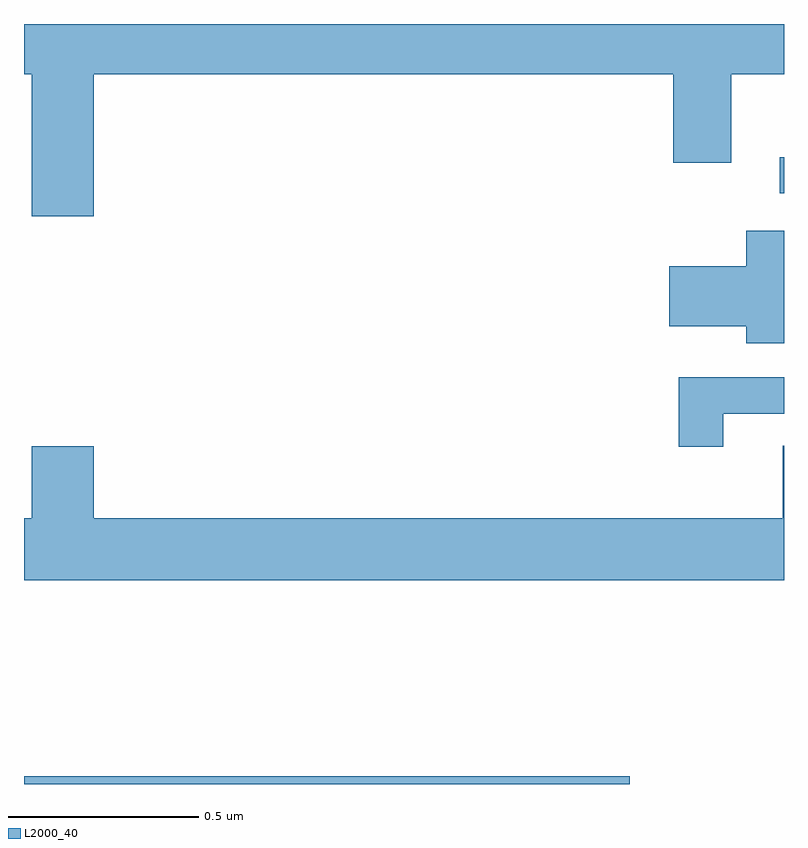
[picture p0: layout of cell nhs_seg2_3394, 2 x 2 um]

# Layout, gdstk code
import gdstk
lib = gdstk.Library(unit=1e-6, precision=1e-09)
def R(c, l, rs):  # rectangles x0, y0, x1, y1
    for r in rs: c.add(gdstk.rectangle(r[:2], r[2:], *l))
def P(c, l, *ps):  # polygons
    for p in ps: c.add(gdstk.Polygon(p, *l))
L2000_40 = (2000, 40)

nhs_seg2_3394 = lib.new_cell('nhs_seg2_3394')
R(nhs_seg2_3394, L2000_40, [(153,613.8,154.594,613.82), (154.989,615.354,155,615.45)])
P(nhs_seg2_3394, L2000_40, [(153.184,615.668),(154.709,615.668),(154.709,615.435),(154.861,615.435),(154.861,615.668),(155,615.668),(155,615.8),(153,615.8),(153,615.668),(153.02,615.668),(153.02,615.294),(153.184,615.294)],
  [(155,615.256),(154.901,615.256),(154.901,615.163),(154.698,615.163),(154.698,615.005),(154.901,615.005),(154.901,614.96),(155,614.96)],
  [(154.84,614.775),(155,614.775),(155,614.871),(154.723,614.871),(154.723,614.688),(154.84,614.688)],
  [(155,614.69),(154.997,614.69),(154.997,614.5),(153.184,614.5),(153.184,614.689),(153.02,614.689),(153.02,614.5),(153,614.5),(153,614.336),(155,614.336)])

lib.write_gds('nhs_seg2_3394.gds')
